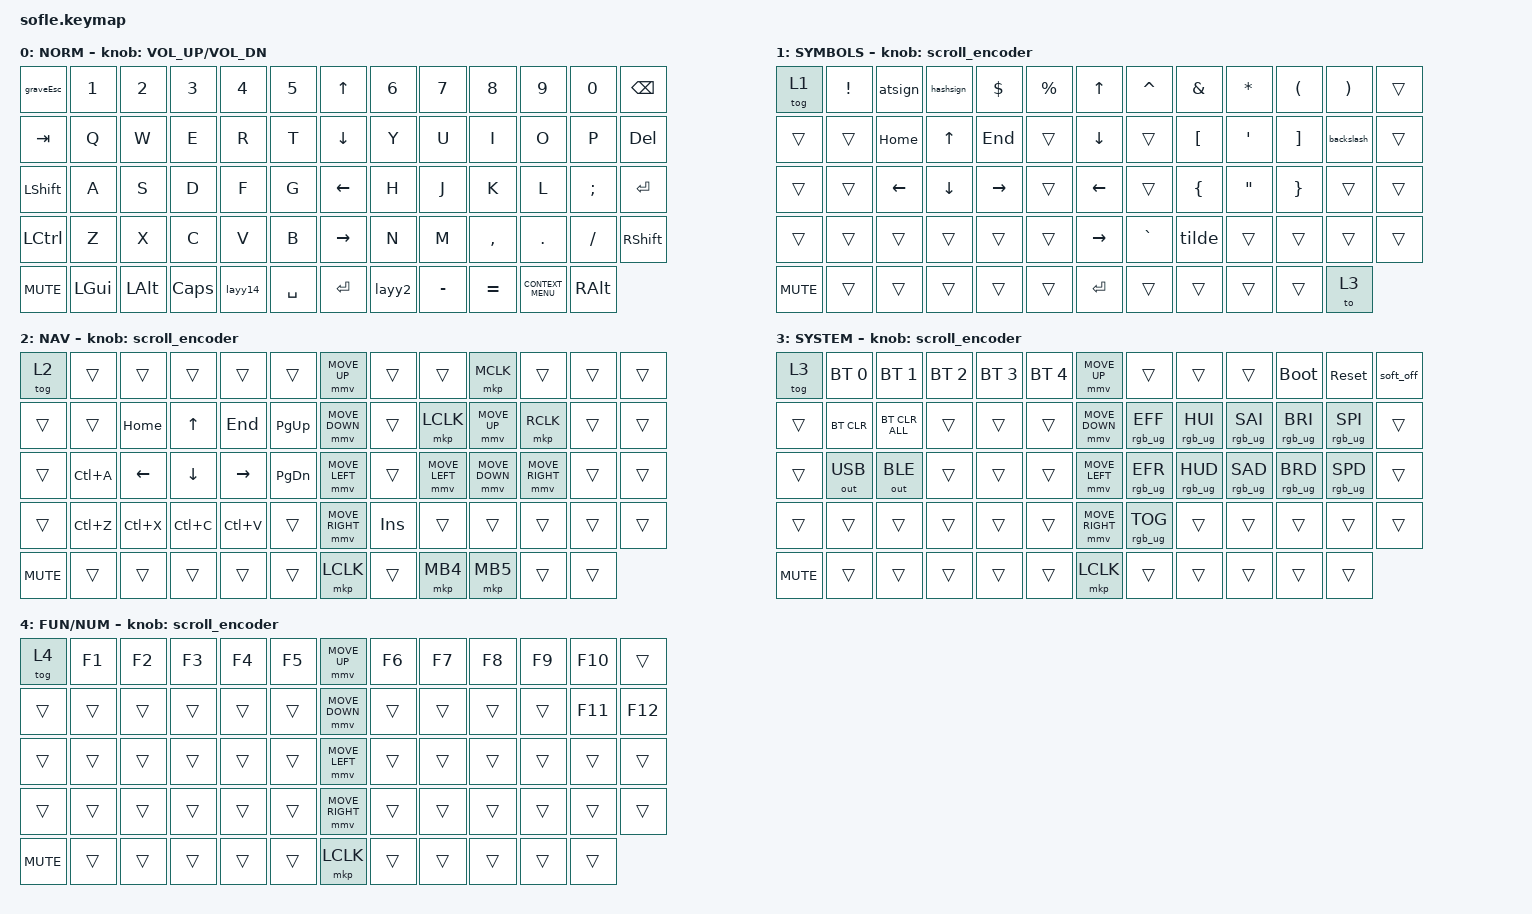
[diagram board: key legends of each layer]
#include <behaviors/mouse_keys.dtsi>
#include <behaviors.dtsi>
#include <dt-bindings/zmk/bt.h>
#include <dt-bindings/zmk/keys.h>
#include <dt-bindings/zmk/mouse.h>
#include <dt-bindings/zmk/outputs.h>
#include <dt-bindings/zmk/rgb.h>

#define ZMK_MOUSE_DEFAULT_MOVE_VAL 1200  // 600
#define ZMK_MOUSE_DEFAULT_SCRL_VAL 20    // 10
#define U_MS_U &mmv MOVE_UP
#define U_MS_D &mmv MOVE_DOWN
#define U_MS_L &mmv MOVE_LEFT
#define U_MS_R &mmv MOVE_RIGHT
#define ZMK_MOUSE_DEFAULT_MOVE_VAL 1200  //  600
#define ZMK_MOUSE_DEFAULT_SCRL_VAL 20    // 10

/ {
    behaviors {
        atsign: tap_dance_4 {
            compatible = "zmk,behavior-tap-dance";
            #binding-cells = <0>;
            tapping-term-ms = <150>;
            bindings = <&kp AT>, <&kp DOUBLE_QUOTES>;
        };

        hashsign: tap_dance_5 {
            compatible = "zmk,behavior-tap-dance";
            #binding-cells = <0>;
            tapping-term-ms = <150>;
            bindings = <&kp HASH>, <&kp NON_US_HASH>;
        };

        backslash: tap_dance_6 {
            compatible = "zmk,behavior-tap-dance";
            #binding-cells = <0>;
            tapping-term-ms = <150>;
        bindings = <&kp BACKSLASH>, <&kp NON_US_BACKSLASH>;
        };

        tilde: tap_dance_7 {
            compatible = "zmk,behavior-tap-dance";
            #binding-cells = <0>;
            tapping-term-ms = <150>;
            bindings = <&kp TILDE>, <&kp LS(NON_US_HASH)>;
        };


        layy14: tap_dance_1 {
            compatible = "zmk,behavior-tap-dance";
            #binding-cells = <0>;
            tapping-term-ms = <200>;
            bindings = <&mo 1>, <&tog 1>, <&tog 4>;
        };

        layy2: tap_dance_2 {
            compatible = "zmk,behavior-tap-dance";
            #binding-cells = <0>;
            tapping-term-ms = <200>;
            bindings = <&mo 2>, <&tog 2>;
        };

        graveEsc: tap_dance_3 {
            compatible = "zmk,behavior-tap-dance";
            #binding-cells = <0>;
            tapping-term-ms = <200>;
            bindings = <&kp ESC>, <&kp GRAVE>, <&kp TILDE>;
        };

        mmv {
            acceleration-exponent = <1>;      // 1
            time-to-max-speed-ms = <900>;    // 40
            delay-ms = <0>;                   // 0
        };

        msc {
            acceleration-exponent = <1>;      // 0
            time-to-max-speed-ms = <400>;      // 500
            delay-ms = <0>;                   //   10
        };
    };

    scroll_encoder: scroll_encoder {
        compatible = "zmk,behavior-sensor-rotate";
        #sensor-binding-cells = <0>;
        bindings = <&msc SCRL_DOWN>, <&msc SCRL_UP>;

        tap-ms = <30>;
    };

    keymap {
        compatible = "zmk,keymap";

        layer0 {
            bindings = <
&graveEsc   &kp N1         &kp N2        &kp N3   &kp N4      &kp N5       &kp UP_ARROW     &kp N6          &kp N7         &kp N8     &kp N9                &kp N0      &kp BACKSPACE
&kp TAB     &kp Q          &kp W         &kp E    &kp R       &kp T        &kp DOWN_ARROW   &kp Y           &kp U          &kp I      &kp O                 &kp P       &kp DELETE
&kp LSHFT   &kp A          &kp S         &kp D    &kp F       &kp G        &kp LEFT_ARROW   &kp H           &kp J          &kp K      &kp L                 &kp SEMI    &kp ENTER
&kp LCTRL   &kp Z          &kp X         &kp C    &kp V       &kp B        &kp RIGHT_ARROW  &kp N           &kp M          &kp COMMA  &kp DOT               &kp FSLH    &kp RIGHT_SHIFT
&kp C_MUTE  &kp LEFT_GUI   &kp LEFT_ALT  &kp CLCK &layy14   &kp SPACE    &kp ENTER        &layy2          &kp MINUS      &kp EQUAL  &kp K_CONTEXT_MENU    &kp RALT
            >;

            sensor-bindings = <&inc_dec_kp C_VOLUME_UP C_VOL_DN>;
            display-name = "NORM";
        };

        layer_1 {
            bindings = <
&tog 1      &kp EXCL              &atsign         &hashsign        &kp DLLR         &kp PRCNT            &kp UP_ARROW     &kp CARET        &kp AMPS          &kp ASTRK          &kp LPAR             &kp RPAR          &trans
&trans      &trans                &kp HOME        &kp UP           &kp END          &trans               &kp DOWN_ARROW   &trans           &kp LEFT_BRACKET  &kp SINGLE_QUOTE   &kp RIGHT_BRACKET    &backslash        &trans
&trans      &trans                &kp LEFT        &kp DOWN         &kp RIGHT        &trans               &kp LEFT_ARROW   &trans           &kp LEFT_BRACE    &kp DOUBLE_QUOTES  &kp RIGHT_BRACE      &trans            &trans
&trans      &trans                &trans          &trans           &trans           &trans               &kp RIGHT_ARROW  &kp GRAVE        &tilde            &trans             &trans               &trans            &trans
&kp C_MUTE  &trans                &trans          &trans           &trans           &trans               &kp ENTER        &trans           &trans            &trans             &trans               &to 3
            >;

            sensor-bindings = <&scroll_encoder>;
            display-name = "SYMBOLS";
        };

        layer_2 {
            bindings = <
&tog 2        &trans          &trans          &trans        &trans         &trans          &mmv MOVE_UP     &trans        &trans         &mkp MCLK       &trans             &trans      &trans
&trans        &trans          &kp HOME        &kp UP        &kp END        &kp PG_UP       &mmv MOVE_DOWN   &trans        &mkp LCLK      &mmv MOVE_UP    &mkp RCLK          &trans      &trans
&trans        &kp LC(A)       &kp LEFT        &kp DOWN      &kp RIGHT      &kp PG_DN       &mmv MOVE_LEFT   &trans        &mmv MOVE_LEFT &mmv MOVE_DOWN  &mmv MOVE_RIGHT    &trans      &trans
&trans        &kp LC(Z)       &kp LC(X)       &kp LC(C)     &kp LC(V)      &trans          &mmv MOVE_RIGHT  &kp INS       &trans         &trans          &trans             &trans      &trans
&kp C_MUTE    &trans          &trans          &trans        &trans         &trans          &mkp LCLK        &trans        &mkp MB4       &mkp MB5        &trans             &trans
            >;

            sensor-bindings = <&scroll_encoder>;
            display-name = "NAV";
        };

        
       layer_3 {
            bindings = <
&tog 3        &bt BT_SEL 0    &bt BT_SEL 1    &bt BT_SEL 2      &bt BT_SEL 3      &bt BT_SEL 4    &mmv MOVE_UP     &trans            &trans           &trans               &bootloader        &sys_reset            &soft_off
&trans        &bt BT_CLR      &bt BT_CLR_ALL  &trans            &trans            &trans          &mmv MOVE_DOWN   &rgb_ug RGB_EFF   &rgb_ug RGB_HUI  &rgb_ug RGB_SAI      &rgb_ug RGB_BRI    &rgb_ug RGB_SPI       &trans
&trans        &out OUT_USB    &out OUT_BLE    &trans            &trans            &trans          &mmv MOVE_LEFT   &rgb_ug RGB_EFR   &rgb_ug RGB_HUD  &rgb_ug RGB_SAD      &rgb_ug RGB_BRD    &rgb_ug RGB_SPD       &trans
&trans        &trans          &trans          &trans            &trans            &trans          &mmv MOVE_RIGHT  &rgb_ug RGB_TOG   &trans           &trans               &trans             &trans                &trans
&kp C_MUTE    &trans          &trans          &trans            &trans            &trans          &mkp LCLK        &trans            &trans           &trans               &trans             &trans
            >;

            sensor-bindings = <&scroll_encoder>;
            display-name = "SYSTEM";
        };

       layer_4 {
            bindings = <
&tog 4        &kp F1           &kp F2          &kp F3           &kp F4            &kp F5            &mmv MOVE_UP    &kp F6        &kp F7          &kp F8          &kp F9           &kp F10           &trans   
&trans        &trans          &trans          &trans            &trans            &trans          &mmv MOVE_DOWN   &trans        &trans          &trans          &trans            &kp F11           &kp F12
&trans        &trans          &trans          &trans            &trans            &trans          &mmv MOVE_LEFT   &trans        &trans          &trans          &trans            &trans            &trans
&trans        &trans          &trans          &trans            &trans            &trans          &mmv MOVE_RIGHT  &trans        &trans          &trans          &trans            &trans            &trans
&kp C_MUTE    &trans          &trans          &trans            &trans            &trans          &mkp LCLK        &trans        &trans          &trans          &trans            &trans            
            >;

            sensor-bindings = <&scroll_encoder>;
            display-name = "FUN/NUM";
        };
    };
};
